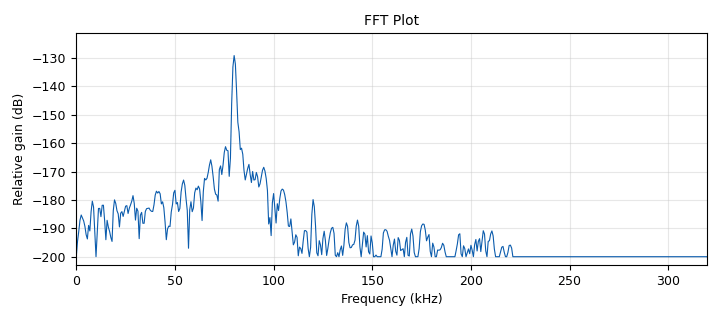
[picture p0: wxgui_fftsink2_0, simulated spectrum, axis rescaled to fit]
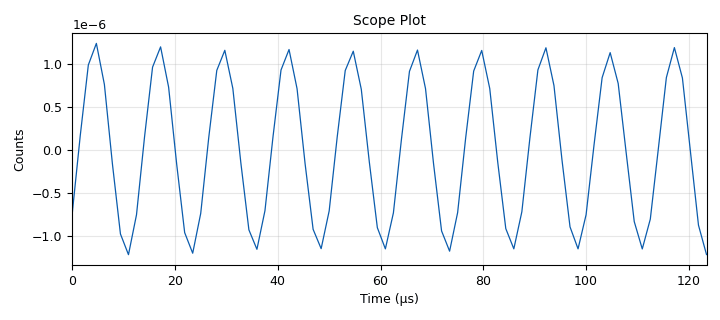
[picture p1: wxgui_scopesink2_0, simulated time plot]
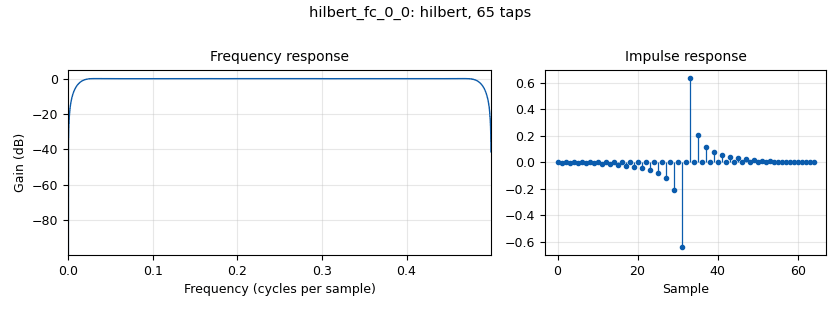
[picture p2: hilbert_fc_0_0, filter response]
<?xml version='1.0' encoding='utf-8'?>
<flow_graph>
<block>
<key>options</key>
<param><key>id</key><value>top_block</value></param>
<param><key>generate_options</key><value>wx_gui</value></param>
<param><key>category</key><value>Custom</value></param>
</block>
<block>
<key>variable</key>
<param><key>id</key><value>samp_rate</value></param>
<param><key>value</key><value>640000</value></param>
</block>
<block>
<key>hilbert_fc</key>
<param><key>id</key><value>hilbert_fc_0_0</value></param>
<param><key>num_taps</key><value>65</value></param>
<param><key>win</key><value>firdes.WIN_HAMMING</value></param>
</block>
<block>
<key>blocks_complex_to_float</key>
<param><key>id</key><value>blocks_complex_to_float_0</value></param>
</block>
<block>
<key>notebook</key>
<param><key>id</key><value>notebook_0</value></param>
<param><key>style</key><value>wx.NB_TOP</value></param>
<param><key>labels</key><value>['fft', 'scope']</value></param>
</block>
<block>
<key>analog_noise_source_x</key>
<param><key>id</key><value>analog_noise_source_x_0</value></param>
<param><key>type</key><value>complex</value></param>
<param><key>noise_type</key><value>analog.GR_GAUSSIAN</value></param>
<param><key>amp</key><value>1</value></param>
<param><key>seed</key><value>0</value></param>
</block>
<block>
<key>blocks_complex_to_float</key>
<param><key>id</key><value>blocks_complex_to_float_0_0</value></param>
</block>
<block>
<key>blocks_throttle</key>
<param><key>id</key><value>blocks_throttle_2</value></param>
<param><key>type</key><value>float</value></param>
<param><key>samples_per_second</key><value>samp_rate</value></param>
</block>
<block>
<key>analog_sig_source_x</key>
<param><key>id</key><value>analog_sig_source_x_1</value></param>
<param><key>type</key><value>float</value></param>
<param><key>samp_rate</key><value>samp_rate</value></param>
<param><key>waveform</key><value>analog.GR_COS_WAVE</value></param>
<param><key>freq</key><value>100000</value></param>
<param><key>amp</key><value>1</value></param>
<param><key>offset</key><value>0</value></param>
</block>
<block>
<key>wxgui_fftsink2</key>
<param><key>id</key><value>wxgui_fftsink2_0</value></param>
<param><key>type</key><value>float</value></param>
<param><key>title</key><value>FFT Plot</value></param>
<param><key>samp_rate</key><value>samp_rate</value></param>
<param><key>baseband_freq</key><value>0</value></param>
<param><key>y_per_div</key><value>10</value></param>
<param><key>y_divs</key><value>10</value></param>
<param><key>ref_level</key><value>0</value></param>
<param><key>ref_scale</key><value>2.0</value></param>
<param><key>fft_size</key><value>1024</value></param>
<param><key>fft_rate</key><value>15</value></param>
<param><key>peak_hold</key><value>False</value></param>
<param><key>average</key><value>False</value></param>
<param><key>avg_alpha</key><value>0</value></param>
<param><key>win</key><value>None</value></param>
<param><key>notebook</key><value>notebook_0,0</value></param>
<param><key>freqvar</key><value>None</value></param>
</block>
<block>
<key>blocks_complex_to_real</key>
<param><key>id</key><value>blocks_complex_to_real_0</value></param>
</block>
<block>
<key>low_pass_filter</key>
<param><key>id</key><value>low_pass_filter_0</value></param>
<param><key>type</key><value>fir_filter_ccf</value></param>
<param><key>decim</key><value>1</value></param>
<param><key>gain</key><value>1</value></param>
<param><key>samp_rate</key><value>samp_rate</value></param>
<param><key>cutoff_freq</key><value>20000</value></param>
<param><key>width</key><value>1</value></param>
<param><key>win</key><value>firdes.WIN_HAMMING</value></param>
</block>
<block>
<key>hilbert_fc</key>
<param><key>id</key><value>hilbert_fc_0</value></param>
<param><key>num_taps</key><value>65</value></param>
<param><key>win</key><value>firdes.WIN_HAMMING</value></param>
</block>
<block>
<key>wxgui_scopesink2</key>
<param><key>id</key><value>wxgui_scopesink2_0</value></param>
<param><key>type</key><value>float</value></param>
<param><key>title</key><value>Scope Plot</value></param>
<param><key>samp_rate</key><value>samp_rate</value></param>
<param><key>v_scale</key><value>0</value></param>
<param><key>v_offset</key><value>0</value></param>
<param><key>t_scale</key><value>0</value></param>
<param><key>ac_couple</key><value>False</value></param>
<param><key>xy_mode</key><value>False</value></param>
<param><key>num_inputs</key><value>1</value></param>
<param><key>notebook</key><value>notebook_0,1</value></param>
<param><key>trig_mode</key><value>wxgui.TRIG_MODE_AUTO</value></param>
<param><key>y_axis_label</key><value>Counts</value></param>
</block>
<block>
<key>blocks_multiply_xx</key>
<param><key>id</key><value>blocks_multiply_xx_0</value></param>
<param><key>type</key><value>float</value></param>
</block>
<block>
<key>blocks_multiply_xx</key>
<param><key>id</key><value>blocks_multiply_xx_0_0</value></param>
<param><key>type</key><value>float</value></param>
</block>
<block>
<key>blocks_throttle</key>
<param><key>id</key><value>blocks_throttle_2_1</value></param>
<param><key>type</key><value>float</value></param>
<param><key>samples_per_second</key><value>samp_rate</value></param>
</block>
<block>
<key>blocks_add_xx</key>
<param><key>id</key><value>blocks_add_xx_0</value></param>
<param><key>type</key><value>float</value></param>
</block>
<connection><source_block_id>analog_noise_source_x_0</source_block_id><sink_block_id>low_pass_filter_0</sink_block_id><source_key>0</source_key><sink_key>0</sink_key></connection>
<connection><source_block_id>blocks_complex_to_real_0</source_block_id><sink_block_id>hilbert_fc_0</sink_block_id><source_key>0</source_key><sink_key>0</sink_key></connection>
<connection><source_block_id>low_pass_filter_0</source_block_id><sink_block_id>blocks_complex_to_real_0</sink_block_id><source_key>0</source_key><sink_key>0</sink_key></connection>
<connection><source_block_id>blocks_throttle_2_1</source_block_id><sink_block_id>blocks_throttle_2</sink_block_id><source_key>0</source_key><sink_key>0</sink_key></connection>
<connection><source_block_id>blocks_throttle_2</source_block_id><sink_block_id>wxgui_fftsink2_0</sink_block_id><source_key>0</source_key><sink_key>0</sink_key></connection>
<connection><source_block_id>blocks_throttle_2</source_block_id><sink_block_id>wxgui_scopesink2_0</sink_block_id><source_key>0</source_key><sink_key>0</sink_key></connection>
<connection><source_block_id>blocks_add_xx_0</source_block_id><sink_block_id>blocks_throttle_2_1</sink_block_id><source_key>0</source_key><sink_key>0</sink_key></connection>
<connection><source_block_id>blocks_multiply_xx_0</source_block_id><sink_block_id>blocks_add_xx_0</sink_block_id><source_key>0</source_key><sink_key>1</sink_key></connection>
<connection><source_block_id>blocks_multiply_xx_0_0</source_block_id><sink_block_id>blocks_add_xx_0</sink_block_id><source_key>0</source_key><sink_key>0</sink_key></connection>
<connection><source_block_id>blocks_complex_to_float_0_0</source_block_id><sink_block_id>blocks_multiply_xx_0</sink_block_id><source_key>1</source_key><sink_key>1</sink_key></connection>
<connection><source_block_id>blocks_complex_to_float_0</source_block_id><sink_block_id>blocks_multiply_xx_0</sink_block_id><source_key>1</source_key><sink_key>0</sink_key></connection>
<connection><source_block_id>blocks_complex_to_float_0</source_block_id><sink_block_id>blocks_multiply_xx_0_0</sink_block_id><source_key>0</source_key><sink_key>1</sink_key></connection>
<connection><source_block_id>blocks_complex_to_float_0_0</source_block_id><sink_block_id>blocks_multiply_xx_0_0</sink_block_id><source_key>0</source_key><sink_key>0</sink_key></connection>
<connection><source_block_id>hilbert_fc_0_0</source_block_id><sink_block_id>blocks_complex_to_float_0_0</sink_block_id><source_key>0</source_key><sink_key>0</sink_key></connection>
<connection><source_block_id>analog_sig_source_x_1</source_block_id><sink_block_id>hilbert_fc_0_0</sink_block_id><source_key>0</source_key><sink_key>0</sink_key></connection>
<connection><source_block_id>hilbert_fc_0</source_block_id><sink_block_id>blocks_complex_to_float_0</sink_block_id><source_key>0</source_key><sink_key>0</sink_key></connection>
</flow_graph>
